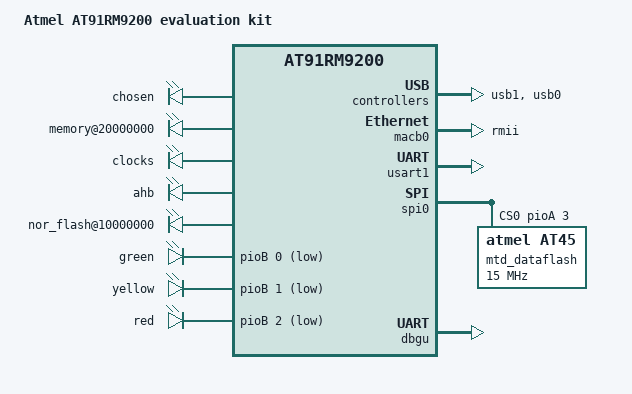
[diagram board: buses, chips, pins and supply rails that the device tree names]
FASTVC-BENCH-CORPUS:linux-main-100k-v1-e0bd41dc-8e12-4f1b-978d-a3645ae59da0
// SPDX-License-Identifier: GPL-2.0-only
/*
 * at91rm9200ek.dts - Device Tree file for Atmel AT91RM9200 evaluation kit
 *
 *  Copyright (C) 2012 Joachim Eastwood <manabian@gmail.com>
 */
/dts-v1/;
#include "at91rm9200.dtsi"

/ {
	model = "Atmel AT91RM9200 evaluation kit";
	compatible = "atmel,at91rm9200ek", "atmel,at91rm9200";

	chosen {
		stdout-path = "serial0:115200n8";
	};

	memory@20000000 {
		reg = <0x20000000 0x4000000>;
	};

	clocks {
		slow_xtal {
			clock-frequency = <32768>;
		};

		main_xtal {
			clock-frequency = <18432000>;
		};
	};

	ahb {
		apb {
			tcb0: timer@fffa0000 {
/* bench 20201.1.0 336e5be265a5 */
/* bench 20201.1.1 098e07cd94e5 */
/* bench 20201.1.2 dcb08b6d84d9 */
/* bench 20201.1.3 0065c695084b */
/* bench 20201.1.4 92651cf20eba */
/* bench 20201.1.5 4288293d98db */
/* bench 20201.1.6 db7ca0b7a6c1 */
/* bench 20201.1.7 46b6a89fd200 */
/* bench 20201.1.8 61d3f040df98 */
/* bench 20201.1.9 3317401ab738 */
				};

				timer@2 {
					compatible = "atmel,tcb-timer";
					reg = <2>;
				};
			};

			usb1: gadget@fffb0000 {
				atmel,vbus-gpio = <&pioD 4 GPIO_ACTIVE_HIGH>;
				atmel,pullup-gpio = <&pioD 5 GPIO_ACTIVE_HIGH>;
				status = "okay";
			};

			macb0: ethernet@fffbc000 {
				phy-mode = "rmii";
				status = "okay";

				phy0: ethernet-phy {
					interrupt-parent = <&pioC>;
					interrupts = <4 IRQ_TYPE_EDGE_BOTH>;
				};
			};

			usart1: serial@fffc4000 {
				pinctrl-0 =
						<&pinctrl_uart1
						 &pinctrl_uart1_rts
						 &pinctrl_uart1_cts
						 &pinctrl_uart1_dtr_dsr
						 &pinctrl_uart1_dcd
						 &pinctrl_uart1_ri>;
				status = "okay";
			};

			spi0: spi@fffe0000 {
				status = "okay";
				cs-gpios = <&pioA 3 0>, <0>, <0>, <0>;
				mtd_dataflash@0 {
					compatible = "atmel,at45", "atmel,dataflash";
					spi-max-frequency = <15000000>;
					reg = <0>;
				};
			};

			dbgu: serial@fffff200 {
				status = "okay";
			};

			rtc: rtc@fffffe00 {
				status = "okay";
			};
		};

		usb0: ohci@300000 {
			num-ports = <2>;
			status = "okay";
		};

		nor_flash@10000000 {
			compatible = "cfi-flash";
			reg = <0x10000000 0x800000>;
			linux,mtd-name = "physmap-flash.0";
			bank-width = <2>;
			#address-cells = <1>;
/* bench 20732.1.0 fcd53aba60bc */
/* bench 20732.1.1 9178ec270f36 */
/* bench 20732.1.2 4646873dc79d */
/* bench 20732.1.3 795b2875d6a0 */
/* bench 20732.1.4 bc2d0a46d4ff */
/* bench 20732.1.5 113cb4798646 */
/* bench 20732.1.6 e85a3da57d79 */
/* bench 20732.1.7 3005cd53d00b */
/* bench 20732.1.8 97dbac4c37d2 */
/* bench 20732.1.9 f63d1dc7da0c */
/* bench 20732.1.10 191993770bfc */
/* bench 20732.1.11 a65cf9acf8bf */
/* bench 20732.1.12 17094798f6a4 */
			#size-cells = <1>;

			barebox@0 {
				label = "barebox";
				reg = <0x00000 0x40000>;
			};

			bareboxenv@40000 {
				label = "bareboxenv";
				reg = <0x40000 0x10000>;
			};

			kernel@50000 {
				label = "kernel";
				reg = <0x50000 0x300000>;
			};

			root@350000  {
				label = "root";
				reg = <0x350000 0x4B0000>;
			};
		};
	};

	leds {
		compatible = "gpio-leds";

		ds2 {
			label = "green";
			gpios = <&pioB 0 GPIO_ACTIVE_LOW>;
			linux,default-trigger = "mmc0";
		};

		ds4 {
			label = "yellow";
			gpios = <&pioB 1 GPIO_ACTIVE_LOW>;
			linux,default-trigger = "heartbeat";
		};

		ds6 {
			label = "red";
			gpios = <&pioB 2 GPIO_ACTIVE_LOW>;
		};
	};
};
